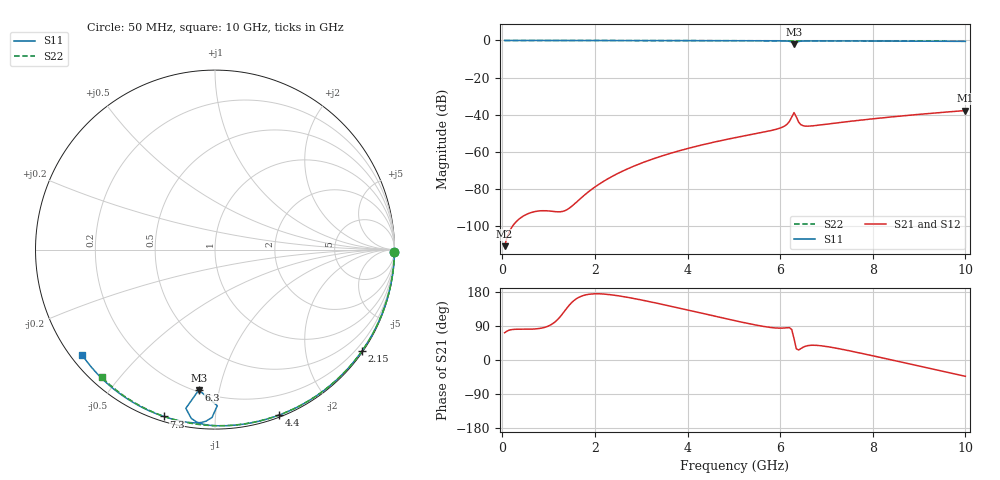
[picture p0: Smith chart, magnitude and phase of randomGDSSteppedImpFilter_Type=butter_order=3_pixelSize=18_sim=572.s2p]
! freq	dB(S11)	phase(S11)	dB(S12)	phase(S12)
!  dB(S21)	phase(S21)	dB(S22)	phase(S22)
!S-par simulation data
#  GHz  S  DB  R 50
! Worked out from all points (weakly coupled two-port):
!   200 points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, 50 MHz to 10 GHz, reference 50 ohm
!   highest |S21| = -37.68 dB at 10 GHz (marker M1); lowest = -110.6 dB at 50 MHz (marker M2)
!   lowest |S11| = -2.1 dB at 6.3 GHz (marker M3), VSWR 8.42, Z = 10.5 - j43.4 ohm
!   |S11| at or under -10 dB: nowhere
!   |S22| runs from -0.4 to 0.0 dB; largest |S21 - S12| = 0
!   S11 on the Smith chart (normalised r, x): 50 MHz: open; 2.15 GHz: 0.03, -3.20; 4.4 GHz: 0.02, -1.46; 6.3 GHz: 0.21, -0.87; 7.3 GHz: 0.02, -0.74; 10 GHz: 0.03, -0.35
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0.05  -0.00 -0.8  -110.60 71.9  -110.60 71.9  -0.00 -0.8
0.9  -0.02 -14.7  -91.52 85.6  -91.52 85.6  -0.02 -13.6
1.75  -0.04 -28.3  -83.64 170.2  -83.64 170.2  -0.03 -26.3
1.95  -0.04 -31.5  -79.68 174.4  -79.68 174.4  -0.04 -29.2
2.15  -0.04 -34.7  -76.31 174.4  -76.31 174.4  -0.04 -32.1
2.75  -0.06 -44.0  -68.53 164.4  -68.53 164.4  -0.05 -40.8
3.4  -0.07 -53.9  -62.47 148.2  -62.47 148.2  -0.07 -50.0
4.4  -0.10 -68.7  -55.64 120.8  -55.64 120.8  -0.09 -63.7
5.05  -0.12 -78.1  -52.16 103.0  -52.16 103.0  -0.11 -72.3
5.8  -0.16 -89.1  -48.45 85.8  -48.45 85.8  -0.14 -82.0
6.05  -0.21 -93.5  -46.61 84.2  -46.61 84.2  -0.15 -85.1
6.2  -0.45 -98.0  -43.56 85.4  -43.56 85.4  -0.16 -87.0
6.25  -0.93 -100.4  -41.14 80.4  -41.14 80.4  -0.16 -87.6
6.3  -2.07 -96.6  -38.80 56.1  -38.80 56.1  -0.16 -88.2
6.35  -1.21 -89.2  -41.13 29.2  -41.13 29.2  -0.16 -88.9
6.4  -0.58 -91.0  -43.96 26.5  -43.96 26.5  -0.16 -89.5
6.45  -0.38 -93.0  -45.33 30.4  -45.33 30.4  -0.17 -90.1
6.55  -0.27 -95.6  -46.07 36.5  -46.07 36.5  -0.17 -91.3
6.7  -0.23 -98.4  -45.91 39.0  -45.91 39.0  -0.18 -93.2
7.3  -0.24 -107.1  -44.09 29.1  -44.09 29.1  -0.21 -100.4
8.35  -0.32 -120.7  -41.24 1.7  -41.24 1.7  -0.29 -112.8
10  -0.49 -141.5  -37.68 -43.0  -37.68 -43.0  -0.44 -131.5
